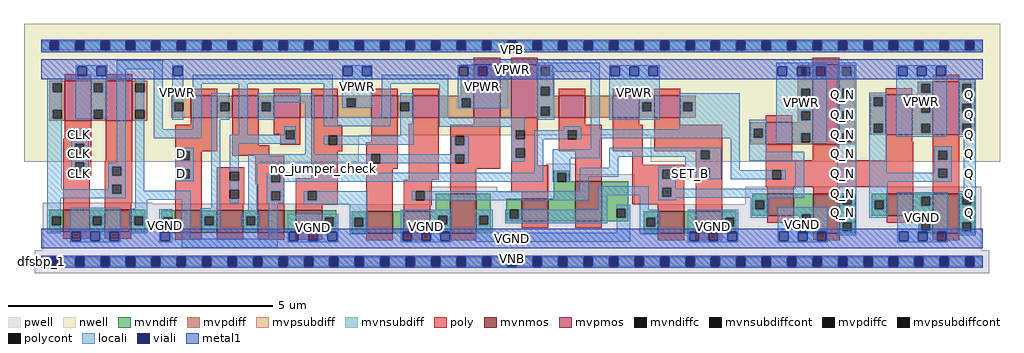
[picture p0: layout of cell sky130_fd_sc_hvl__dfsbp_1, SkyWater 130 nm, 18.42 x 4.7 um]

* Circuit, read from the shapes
.subckt sky130_fd_sc_hvl__dfsbp_1 CLK D SET_B VGND VNB VPB VPWR Q Q_N
XM1 VGND CLK n1 VNB sky130_fd_pr__nfet_g5v0d10v5 w=0.42 l=0.5
XM2 n2 n1 VGND VNB sky130_fd_pr__nfet_g5v0d10v5 w=0.42 l=0.5
XM3 n3 D VGND VNB sky130_fd_pr__nfet_g5v0d10v5 w=0.42 l=0.5
XM4 n4 n1 n3 VNB sky130_fd_pr__nfet_g5v0d10v5 w=0.42 l=0.5
XM5 n5 n2 n4 VNB sky130_fd_pr__nfet_g5v0d10v5 w=0.42 l=0.5
XM6 VGND n6 n5 VNB sky130_fd_pr__nfet_g5v0d10v5 w=0.42 l=0.5
XM7 n7 n4 n6 VNB sky130_fd_pr__nfet_g5v0d10v5 w=0.42 l=0.5
XM8 VGND SET_B n7 VNB sky130_fd_pr__nfet_g5v0d10v5 w=0.42 l=0.5
XM9 n8 n4 VGND VNB sky130_fd_pr__nfet_g5v0d10v5 w=0.75 l=0.5
XM10 n9 n1 n10 VNB sky130_fd_pr__nfet_g5v0d10v5 w=0.42 l=0.5
XM11 n8 n2 n9 VNB sky130_fd_pr__nfet_g5v0d10v5 w=0.75 l=0.5
XM12 n11 n12 n10 VNB sky130_fd_pr__nfet_g5v0d10v5 w=0.42 l=0.5
XM13 VGND SET_B n11 VNB sky130_fd_pr__nfet_g5v0d10v5 w=0.42 l=0.5
XM14 VGND n9 n12 VNB sky130_fd_pr__nfet_g5v0d10v5 w=0.42 l=0.5
XM15 Q_N n9 VGND VNB sky130_fd_pr__nfet_g5v0d10v5 w=0.75 l=0.5
XM16 VGND n9 n13 VNB sky130_fd_pr__nfet_g5v0d10v5 w=0.42 l=0.5
XM17 Q n13 VGND VNB sky130_fd_pr__nfet_g5v0d10v5 w=0.75 l=0.5
XM18 VPWR CLK n1 VPB sky130_fd_pr__pfet_g5v0d10v5 w=0.75 l=0.5
XM19 n2 n1 VPWR VPB sky130_fd_pr__pfet_g5v0d10v5 w=0.75 l=0.5
XM20 n3 D VPWR VPB sky130_fd_pr__pfet_g5v0d10v5 w=0.42 l=0.5
XM21 n4 n2 n3 VPB sky130_fd_pr__pfet_g5v0d10v5 w=0.42 l=0.5
XM22 n14 n1 n4 VPB sky130_fd_pr__pfet_g5v0d10v5 w=0.42 l=0.5
XM23 VPWR n6 n14 VPB sky130_fd_pr__pfet_g5v0d10v5 w=0.42 l=0.5
XM24 n6 n4 VPWR VPB sky130_fd_pr__pfet_g5v0d10v5 w=0.42 l=0.5
XM25 VPWR SET_B n6 VPB sky130_fd_pr__pfet_g5v0d10v5 w=0.42 l=0.5
XM26 n15 n4 VPWR VPB sky130_fd_pr__pfet_g5v0d10v5 w=1 l=0.5
XM27 n9 n1 n15 VPB sky130_fd_pr__pfet_g5v0d10v5 w=1 l=0.5
XM28 n16 n2 n9 VPB sky130_fd_pr__pfet_g5v0d10v5 w=0.42 l=0.5
XM29 VPWR n12 n16 VPB sky130_fd_pr__pfet_g5v0d10v5 w=0.42 l=0.5
XM30 n9 SET_B VPWR VPB sky130_fd_pr__pfet_g5v0d10v5 w=0.42 l=0.5
XM31 VPWR n9 n12 VPB sky130_fd_pr__pfet_g5v0d10v5 w=0.42 l=0.5
XM32 Q_N n9 VPWR VPB sky130_fd_pr__pfet_g5v0d10v5 w=1.5 l=0.5
XM33 VPWR n9 n13 VPB sky130_fd_pr__pfet_g5v0d10v5 w=0.75 l=0.5
XM34 Q n13 VPWR VPB sky130_fd_pr__pfet_g5v0d10v5 w=1 l=0.5
.ends

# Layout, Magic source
magic
tech sky130B
magscale 1 2
<< nwell >>
rect -66 477 3618 897
rect -66 377 1198 477
rect 2300 377 3618 477
<< pwell >>
rect 1908 329 2018 369
rect 1463 263 1721 283
rect 1908 263 2240 329
rect 4 219 418 222
rect 4 217 1138 219
rect 1463 217 2240 263
rect 2656 217 3548 283
rect 4 43 3548 217
rect -26 -43 3578 43
<< mvnmos >>
rect 83 112 183 196
rect 239 112 339 196
rect 505 109 605 193
rect 661 109 761 193
rect 817 109 917 193
rect 959 109 1059 193
rect 1225 107 1325 191
rect 1367 107 1467 191
rect 1542 107 1642 257
rect 1812 153 1912 237
rect 2014 153 2114 303
rect 2327 107 2427 191
rect 2469 107 2569 191
rect 2739 173 2839 257
rect 2914 107 3014 257
rect 3190 173 3290 257
rect 3365 107 3465 257
<< mvpmos >>
rect 87 532 187 682
rect 243 532 343 682
rect 564 543 664 627
rect 720 543 820 627
rect 876 543 976 627
rect 1018 543 1118 627
rect 1244 543 1344 627
rect 1400 543 1500 627
rect 1632 543 1732 743
rect 1774 543 1874 743
rect 1953 543 2053 627
rect 2156 543 2256 627
rect 2312 543 2412 627
rect 2733 443 2833 527
rect 2912 443 3012 743
rect 3186 479 3286 629
rect 3365 479 3465 679
<< mvndiff >>
rect 30 171 83 196
rect 30 137 38 171
rect 72 137 83 171
rect 30 112 83 137
rect 183 171 239 196
rect 183 137 194 171
rect 228 137 239 171
rect 183 112 239 137
rect 339 171 392 196
rect 339 137 350 171
rect 384 137 392 171
rect 339 112 392 137
rect 452 168 505 193
rect 452 134 460 168
rect 494 134 505 168
rect 452 109 505 134
rect 605 171 661 193
rect 605 137 616 171
rect 650 137 661 171
rect 605 109 661 137
rect 761 171 817 193
rect 761 137 772 171
rect 806 137 817 171
rect 761 109 817 137
rect 917 109 959 193
rect 1059 168 1112 193
rect 1489 191 1542 257
rect 1059 134 1070 168
rect 1104 134 1112 168
rect 1059 109 1112 134
rect 1172 166 1225 191
rect 1172 132 1180 166
rect 1214 132 1225 166
rect 1172 107 1225 132
rect 1325 107 1367 191
rect 1467 174 1542 191
rect 1467 140 1497 174
rect 1531 140 1542 174
rect 1467 107 1542 140
rect 1642 174 1695 257
rect 1934 335 1992 343
rect 1934 301 1946 335
rect 1980 303 1992 335
rect 1980 301 2014 303
rect 1934 237 2014 301
rect 1642 140 1653 174
rect 1687 140 1695 174
rect 1755 195 1812 237
rect 1755 161 1767 195
rect 1801 161 1812 195
rect 1755 153 1812 161
rect 1912 153 2014 237
rect 2114 199 2214 303
rect 2114 165 2172 199
rect 2206 165 2214 199
rect 2682 232 2739 257
rect 2682 198 2694 232
rect 2728 198 2739 232
rect 2114 153 2214 165
rect 2274 166 2327 191
rect 1642 107 1695 140
rect 2274 132 2282 166
rect 2316 132 2327 166
rect 2274 107 2327 132
rect 2427 107 2469 191
rect 2569 166 2622 191
rect 2682 173 2739 198
rect 2839 179 2914 257
rect 2839 173 2869 179
rect 2569 132 2580 166
rect 2614 132 2622 166
rect 2569 107 2622 132
rect 2861 145 2869 173
rect 2903 145 2914 179
rect 2861 107 2914 145
rect 3014 249 3071 257
rect 3014 215 3025 249
rect 3059 215 3071 249
rect 3014 149 3071 215
rect 3133 232 3190 257
rect 3133 198 3145 232
rect 3179 198 3190 232
rect 3133 173 3190 198
rect 3290 245 3365 257
rect 3290 211 3320 245
rect 3354 211 3365 245
rect 3290 173 3365 211
rect 3014 115 3025 149
rect 3059 115 3071 149
rect 3312 153 3365 173
rect 3014 107 3071 115
rect 3312 119 3320 153
rect 3354 119 3365 153
rect 3312 107 3365 119
rect 3465 249 3522 257
rect 3465 215 3476 249
rect 3510 215 3522 249
rect 3465 149 3522 215
rect 3465 115 3476 149
rect 3510 115 3522 149
rect 3465 107 3522 115
<< mvpdiff >>
rect 30 674 87 682
rect 30 640 42 674
rect 76 640 87 674
rect 30 574 87 640
rect 30 540 42 574
rect 76 540 87 574
rect 30 532 87 540
rect 187 674 243 682
rect 187 640 198 674
rect 232 640 243 674
rect 187 574 243 640
rect 187 540 198 574
rect 232 540 243 574
rect 187 532 243 540
rect 343 674 400 682
rect 343 640 354 674
rect 388 640 400 674
rect 343 574 400 640
rect 1582 627 1632 743
rect 343 540 354 574
rect 388 540 400 574
rect 489 602 564 627
rect 489 568 501 602
rect 535 568 564 602
rect 489 543 564 568
rect 664 602 720 627
rect 664 568 675 602
rect 709 568 720 602
rect 664 543 720 568
rect 820 602 876 627
rect 820 568 831 602
rect 865 568 876 602
rect 820 543 876 568
rect 976 543 1018 627
rect 1118 617 1244 627
rect 1118 583 1152 617
rect 1186 583 1244 617
rect 1118 543 1244 583
rect 1344 602 1400 627
rect 1344 568 1355 602
rect 1389 568 1400 602
rect 1344 543 1400 568
rect 1500 616 1632 627
rect 1500 582 1587 616
rect 1621 582 1632 616
rect 1500 543 1632 582
rect 1732 543 1774 743
rect 1874 735 1931 743
rect 1874 701 1885 735
rect 1919 701 1931 735
rect 1874 660 1931 701
rect 1874 626 1885 660
rect 1919 627 1931 660
rect 2855 735 2912 743
rect 2855 701 2867 735
rect 2901 701 2912 735
rect 2855 652 2912 701
rect 1919 626 1953 627
rect 1874 585 1953 626
rect 1874 551 1885 585
rect 1919 551 1953 585
rect 1874 543 1953 551
rect 2053 543 2156 627
rect 2256 602 2312 627
rect 2256 568 2267 602
rect 2301 568 2312 602
rect 2256 543 2312 568
rect 2412 602 2469 627
rect 2412 568 2423 602
rect 2457 568 2469 602
rect 2412 543 2469 568
rect 2855 618 2867 652
rect 2901 618 2912 652
rect 2855 568 2912 618
rect 343 532 400 540
rect 2855 534 2867 568
rect 2901 534 2912 568
rect 2855 527 2912 534
rect 2676 502 2733 527
rect 2676 468 2688 502
rect 2722 468 2733 502
rect 2676 443 2733 468
rect 2833 485 2912 527
rect 2833 451 2867 485
rect 2901 451 2912 485
rect 2833 443 2912 451
rect 3012 735 3069 743
rect 3012 701 3023 735
rect 3057 701 3069 735
rect 3012 652 3069 701
rect 3308 671 3365 679
rect 3012 618 3023 652
rect 3057 618 3069 652
rect 3308 637 3320 671
rect 3354 637 3365 671
rect 3308 629 3365 637
rect 3012 568 3069 618
rect 3012 534 3023 568
rect 3057 534 3069 568
rect 3012 485 3069 534
rect 3012 451 3023 485
rect 3057 451 3069 485
rect 3129 621 3186 629
rect 3129 587 3141 621
rect 3175 587 3186 621
rect 3129 521 3186 587
rect 3129 487 3141 521
rect 3175 487 3186 521
rect 3129 479 3186 487
rect 3286 596 3365 629
rect 3286 562 3320 596
rect 3354 562 3365 596
rect 3286 521 3365 562
rect 3286 487 3320 521
rect 3354 487 3365 521
rect 3286 479 3365 487
rect 3465 671 3522 679
rect 3465 637 3476 671
rect 3510 637 3522 671
rect 3465 596 3522 637
rect 3465 562 3476 596
rect 3510 562 3522 596
rect 3465 521 3522 562
rect 3465 487 3476 521
rect 3510 487 3522 521
rect 3465 479 3522 487
rect 3012 443 3069 451
<< mvndiffc >>
rect 38 137 72 171
rect 194 137 228 171
rect 350 137 384 171
rect 460 134 494 168
rect 616 137 650 171
rect 772 137 806 171
rect 1070 134 1104 168
rect 1180 132 1214 166
rect 1497 140 1531 174
rect 1946 301 1980 335
rect 1653 140 1687 174
rect 1767 161 1801 195
rect 2172 165 2206 199
rect 2694 198 2728 232
rect 2282 132 2316 166
rect 2580 132 2614 166
rect 2869 145 2903 179
rect 3025 215 3059 249
rect 3145 198 3179 232
rect 3320 211 3354 245
rect 3025 115 3059 149
rect 3320 119 3354 153
rect 3476 215 3510 249
rect 3476 115 3510 149
<< mvpdiffc >>
rect 42 640 76 674
rect 42 540 76 574
rect 198 640 232 674
rect 198 540 232 574
rect 354 640 388 674
rect 354 540 388 574
rect 501 568 535 602
rect 675 568 709 602
rect 831 568 865 602
rect 1152 583 1186 617
rect 1355 568 1389 602
rect 1587 582 1621 616
rect 1885 701 1919 735
rect 1885 626 1919 660
rect 2867 701 2901 735
rect 1885 551 1919 585
rect 2267 568 2301 602
rect 2423 568 2457 602
rect 2867 618 2901 652
rect 2867 534 2901 568
rect 2688 468 2722 502
rect 2867 451 2901 485
rect 3023 701 3057 735
rect 3023 618 3057 652
rect 3320 637 3354 671
rect 3023 534 3057 568
rect 3023 451 3057 485
rect 3141 587 3175 621
rect 3141 487 3175 521
rect 3320 562 3354 596
rect 3320 487 3354 521
rect 3476 637 3510 671
rect 3476 562 3510 596
rect 3476 487 3510 521
<< mvpsubdiff >>
rect 0 -17 31 17
rect 65 -17 127 17
rect 161 -17 223 17
rect 257 -17 319 17
rect 353 -17 415 17
rect 449 -17 511 17
rect 545 -17 607 17
rect 641 -17 703 17
rect 737 -17 799 17
rect 833 -17 895 17
rect 929 -17 991 17
rect 1025 -17 1087 17
rect 1121 -17 1183 17
rect 1217 -17 1279 17
rect 1313 -17 1375 17
rect 1409 -17 1471 17
rect 1505 -17 1567 17
rect 1601 -17 1663 17
rect 1697 -17 1759 17
rect 1793 -17 1855 17
rect 1889 -17 1951 17
rect 1985 -17 2047 17
rect 2081 -17 2143 17
rect 2177 -17 2239 17
rect 2273 -17 2335 17
rect 2369 -17 2431 17
rect 2465 -17 2527 17
rect 2561 -17 2623 17
rect 2657 -17 2719 17
rect 2753 -17 2815 17
rect 2849 -17 2911 17
rect 2945 -17 3007 17
rect 3041 -17 3103 17
rect 3137 -17 3199 17
rect 3233 -17 3295 17
rect 3329 -17 3391 17
rect 3425 -17 3487 17
rect 3521 -17 3552 17
<< mvnsubdiff >>
rect 0 797 31 831
rect 65 797 127 831
rect 161 797 223 831
rect 257 797 319 831
rect 353 797 415 831
rect 449 797 511 831
rect 545 797 607 831
rect 641 797 703 831
rect 737 797 799 831
rect 833 797 895 831
rect 929 797 991 831
rect 1025 797 1087 831
rect 1121 797 1183 831
rect 1217 797 1279 831
rect 1313 797 1375 831
rect 1409 797 1471 831
rect 1505 797 1567 831
rect 1601 797 1663 831
rect 1697 797 1759 831
rect 1793 797 1855 831
rect 1889 797 1951 831
rect 1985 797 2047 831
rect 2081 797 2143 831
rect 2177 797 2239 831
rect 2273 797 2335 831
rect 2369 797 2431 831
rect 2465 797 2527 831
rect 2561 797 2623 831
rect 2657 797 2719 831
rect 2753 797 2815 831
rect 2849 797 2911 831
rect 2945 797 3007 831
rect 3041 797 3103 831
rect 3137 797 3199 831
rect 3233 797 3295 831
rect 3329 797 3391 831
rect 3425 797 3487 831
rect 3521 797 3552 831
<< mvpsubdiffcont >>
rect 31 -17 65 17
rect 127 -17 161 17
rect 223 -17 257 17
rect 319 -17 353 17
rect 415 -17 449 17
rect 511 -17 545 17
rect 607 -17 641 17
rect 703 -17 737 17
rect 799 -17 833 17
rect 895 -17 929 17
rect 991 -17 1025 17
rect 1087 -17 1121 17
rect 1183 -17 1217 17
rect 1279 -17 1313 17
rect 1375 -17 1409 17
rect 1471 -17 1505 17
rect 1567 -17 1601 17
rect 1663 -17 1697 17
rect 1759 -17 1793 17
rect 1855 -17 1889 17
rect 1951 -17 1985 17
rect 2047 -17 2081 17
rect 2143 -17 2177 17
rect 2239 -17 2273 17
rect 2335 -17 2369 17
rect 2431 -17 2465 17
rect 2527 -17 2561 17
rect 2623 -17 2657 17
rect 2719 -17 2753 17
rect 2815 -17 2849 17
rect 2911 -17 2945 17
rect 3007 -17 3041 17
rect 3103 -17 3137 17
rect 3199 -17 3233 17
rect 3295 -17 3329 17
rect 3391 -17 3425 17
rect 3487 -17 3521 17
<< mvnsubdiffcont >>
rect 31 797 65 831
rect 127 797 161 831
rect 223 797 257 831
rect 319 797 353 831
rect 415 797 449 831
rect 511 797 545 831
rect 607 797 641 831
rect 703 797 737 831
rect 799 797 833 831
rect 895 797 929 831
rect 991 797 1025 831
rect 1087 797 1121 831
rect 1183 797 1217 831
rect 1279 797 1313 831
rect 1375 797 1409 831
rect 1471 797 1505 831
rect 1567 797 1601 831
rect 1663 797 1697 831
rect 1759 797 1793 831
rect 1855 797 1889 831
rect 1951 797 1985 831
rect 2047 797 2081 831
rect 2143 797 2177 831
rect 2239 797 2273 831
rect 2335 797 2369 831
rect 2431 797 2465 831
rect 2527 797 2561 831
rect 2623 797 2657 831
rect 2719 797 2753 831
rect 2815 797 2849 831
rect 2911 797 2945 831
rect 3007 797 3041 831
rect 3103 797 3137 831
rect 3199 797 3233 831
rect 3295 797 3329 831
rect 3391 797 3425 831
rect 3487 797 3521 831
<< poly >>
rect 1632 743 1732 769
rect 1774 743 1874 769
rect 2912 743 3012 769
rect 87 682 187 708
rect 243 682 343 708
rect 564 627 664 653
rect 720 627 820 653
rect 876 627 976 653
rect 1018 627 1118 653
rect 1244 627 1344 653
rect 1400 627 1500 653
rect 1953 627 2053 653
rect 2156 627 2256 653
rect 2312 627 2412 653
rect 87 464 187 532
rect 83 444 187 464
rect 83 410 128 444
rect 162 410 187 444
rect 83 376 187 410
rect 243 378 343 532
rect 564 517 664 543
rect 83 342 128 376
rect 162 342 187 376
rect 83 322 187 342
rect 239 358 343 378
rect 239 324 268 358
rect 302 324 343 358
rect 83 196 183 322
rect 239 290 343 324
rect 239 256 268 290
rect 302 256 343 290
rect 239 222 343 256
rect 505 417 664 517
rect 720 439 820 543
rect 876 495 976 543
rect 876 481 922 495
rect 902 461 922 481
rect 956 461 976 495
rect 902 441 976 461
rect 1018 517 1118 543
rect 1018 475 1136 517
rect 1018 441 1082 475
rect 1116 441 1136 475
rect 1244 451 1344 543
rect 1400 521 1500 543
rect 505 383 525 417
rect 559 383 605 417
rect 720 399 860 439
rect 1018 417 1136 441
rect 505 349 605 383
rect 505 315 525 349
rect 559 315 605 349
rect 239 196 339 222
rect 505 193 605 315
rect 661 339 765 357
rect 661 305 711 339
rect 745 305 765 339
rect 661 271 765 305
rect 807 333 917 399
rect 807 299 867 333
rect 901 299 917 333
rect 1018 315 1118 417
rect 807 293 917 299
rect 661 237 711 271
rect 745 237 765 271
rect 661 217 765 237
rect 817 265 917 293
rect 817 231 867 265
rect 901 231 917 265
rect 661 193 761 217
rect 817 193 917 231
rect 959 265 1118 315
rect 959 231 1005 265
rect 1039 231 1118 265
rect 959 215 1118 231
rect 1225 405 1344 451
rect 1225 371 1245 405
rect 1279 371 1344 405
rect 1225 351 1344 371
rect 959 193 1059 215
rect 83 86 183 112
rect 239 86 339 112
rect 1225 191 1325 351
rect 1386 309 1500 521
rect 1632 517 1732 543
rect 1542 473 1732 517
rect 1542 439 1562 473
rect 1596 439 1732 473
rect 1542 405 1732 439
rect 1542 371 1562 405
rect 1596 371 1732 405
rect 1542 351 1732 371
rect 1774 495 1874 543
rect 1774 461 1790 495
rect 1824 461 1874 495
rect 1774 427 1874 461
rect 1774 393 1790 427
rect 1824 393 1874 427
rect 1953 517 2053 543
rect 2156 517 2256 543
rect 2312 517 2412 543
rect 2733 527 2833 553
rect 1953 495 2114 517
rect 1953 461 1987 495
rect 2021 461 2114 495
rect 1953 417 2114 461
rect 2156 417 2270 517
rect 2312 421 2569 517
rect 3365 679 3465 705
rect 3186 629 3286 655
rect 3186 453 3286 479
rect 2312 417 2489 421
rect 1774 363 1874 393
rect 1367 265 1474 309
rect 1367 231 1413 265
rect 1447 231 1474 265
rect 1542 257 1642 351
rect 1774 263 1912 363
rect 1367 213 1474 231
rect 1367 191 1467 213
rect 505 83 605 109
rect 661 83 761 109
rect 817 83 917 109
rect 959 83 1059 109
rect 1812 237 1912 263
rect 2014 303 2114 417
rect 2229 366 2270 417
rect 2469 387 2489 417
rect 2523 387 2569 421
rect 2229 346 2427 366
rect 2229 312 2344 346
rect 2378 312 2427 346
rect 2229 278 2427 312
rect 2229 244 2344 278
rect 2378 244 2427 278
rect 2229 217 2427 244
rect 2327 191 2427 217
rect 2469 353 2569 387
rect 2469 319 2489 353
rect 2523 319 2569 353
rect 2469 191 2569 319
rect 2733 383 2833 443
rect 2912 383 3012 443
rect 3186 383 3290 453
rect 2733 345 3290 383
rect 2733 311 2759 345
rect 2793 311 3290 345
rect 2733 283 3290 311
rect 2739 257 2839 283
rect 2914 257 3014 283
rect 3190 257 3290 283
rect 3365 419 3465 479
rect 3365 385 3385 419
rect 3419 385 3465 419
rect 3365 351 3465 385
rect 3365 317 3385 351
rect 3419 317 3465 351
rect 3365 257 3465 317
rect 1812 127 1912 153
rect 2014 127 2114 153
rect 2739 147 2839 173
rect 3190 147 3290 173
rect 1225 81 1325 107
rect 1367 81 1467 107
rect 1542 81 1642 107
rect 2327 81 2427 107
rect 2469 81 2569 107
rect 2914 81 3014 107
rect 3365 81 3465 107
<< polycont >>
rect 128 410 162 444
rect 128 342 162 376
rect 268 324 302 358
rect 268 256 302 290
rect 922 461 956 495
rect 1082 441 1116 475
rect 525 383 559 417
rect 525 315 559 349
rect 711 305 745 339
rect 867 299 901 333
rect 711 237 745 271
rect 867 231 901 265
rect 1005 231 1039 265
rect 1245 371 1279 405
rect 1562 439 1596 473
rect 1562 371 1596 405
rect 1790 461 1824 495
rect 1790 393 1824 427
rect 1987 461 2021 495
rect 1413 231 1447 265
rect 2489 387 2523 421
rect 2344 312 2378 346
rect 2344 244 2378 278
rect 2489 319 2523 353
rect 2759 311 2793 345
rect 3385 385 3419 419
rect 3385 317 3419 351
<< locali >>
rect 0 797 31 831
rect 65 797 127 831
rect 161 797 223 831
rect 257 797 319 831
rect 353 797 415 831
rect 449 797 511 831
rect 545 797 607 831
rect 641 797 703 831
rect 737 797 799 831
rect 833 797 895 831
rect 929 797 991 831
rect 1025 797 1087 831
rect 1121 797 1183 831
rect 1217 797 1279 831
rect 1313 797 1375 831
rect 1409 797 1471 831
rect 1505 797 1567 831
rect 1601 797 1663 831
rect 1697 797 1759 831
rect 1793 797 1855 831
rect 1889 797 1951 831
rect 1985 797 2047 831
rect 2081 797 2143 831
rect 2177 797 2239 831
rect 2273 797 2335 831
rect 2369 797 2431 831
rect 2465 797 2527 831
rect 2561 797 2623 831
rect 2657 797 2719 831
rect 2753 797 2815 831
rect 2849 797 2911 831
rect 2945 797 3007 831
rect 3041 797 3103 831
rect 3137 797 3199 831
rect 3233 797 3295 831
rect 3329 797 3391 831
rect 3425 797 3487 831
rect 3521 797 3552 831
rect 130 735 248 741
rect 130 701 136 735
rect 170 701 208 735
rect 242 701 248 735
rect 22 674 76 690
rect 22 640 42 674
rect 22 574 76 640
rect 22 540 42 574
rect 130 674 248 701
rect 130 640 198 674
rect 232 640 248 674
rect 130 574 248 640
rect 130 540 198 574
rect 232 540 248 574
rect 284 726 458 760
rect 22 274 76 540
rect 112 444 178 504
rect 112 410 128 444
rect 162 410 178 444
rect 112 376 178 410
rect 112 342 128 376
rect 162 342 178 376
rect 284 374 318 726
rect 112 310 178 342
rect 252 358 318 374
rect 252 324 268 358
rect 302 324 318 358
rect 252 290 318 324
rect 252 274 268 290
rect 22 256 268 274
rect 302 256 318 290
rect 22 240 318 256
rect 354 674 388 690
rect 354 574 388 640
rect 354 267 388 540
rect 424 499 458 726
rect 494 735 535 741
rect 494 701 498 735
rect 532 701 535 735
rect 1136 735 1249 741
rect 494 602 535 701
rect 494 568 501 602
rect 494 535 535 568
rect 571 671 1100 705
rect 571 499 605 671
rect 424 465 605 499
rect 641 602 709 635
rect 641 568 675 602
rect 641 535 709 568
rect 505 417 575 429
rect 505 383 525 417
rect 559 383 575 417
rect 505 349 575 383
rect 505 315 525 349
rect 559 315 575 349
rect 505 303 575 315
rect 22 171 72 240
rect 354 233 564 267
rect 22 137 38 171
rect 22 108 72 137
rect 108 171 298 204
rect 354 200 400 233
rect 108 137 194 171
rect 228 137 298 171
rect 108 113 298 137
rect 108 79 114 113
rect 148 79 186 113
rect 220 79 258 113
rect 292 79 298 113
rect 334 171 400 200
rect 334 137 350 171
rect 384 137 400 171
rect 334 108 400 137
rect 444 168 494 197
rect 444 134 460 168
rect 444 113 494 134
rect 108 73 298 79
rect 444 79 450 113
rect 484 79 494 113
rect 444 73 494 79
rect 530 87 564 233
rect 641 201 675 535
rect 745 479 779 671
rect 815 602 1030 635
rect 815 568 831 602
rect 865 601 1030 602
rect 865 568 881 601
rect 815 535 881 568
rect 917 495 960 511
rect 917 479 922 495
rect 711 461 922 479
rect 956 461 960 495
rect 711 445 960 461
rect 711 339 745 445
rect 996 405 1030 601
rect 1066 545 1100 671
rect 1136 701 1139 735
rect 1173 701 1211 735
rect 1245 701 1249 735
rect 1571 735 1761 741
rect 1136 617 1249 701
rect 1136 583 1152 617
rect 1186 583 1249 617
rect 1136 581 1249 583
rect 1285 671 1535 705
rect 1285 545 1319 671
rect 1066 511 1319 545
rect 1355 602 1405 635
rect 1389 568 1405 602
rect 1355 475 1405 568
rect 1501 543 1535 671
rect 1571 701 1577 735
rect 1611 701 1649 735
rect 1683 701 1721 735
rect 1755 701 1761 735
rect 1571 616 1761 701
rect 1571 582 1587 616
rect 1621 582 1761 616
rect 1571 579 1761 582
rect 1869 735 2107 751
rect 1869 701 1885 735
rect 1919 717 2107 735
rect 1919 701 1935 717
rect 1869 660 1935 701
rect 1869 626 1885 660
rect 1919 626 1935 660
rect 1869 585 1935 626
rect 1869 551 1885 585
rect 1919 551 1935 585
rect 1501 509 1824 543
rect 1869 535 1935 551
rect 1066 441 1082 475
rect 1116 441 1405 475
rect 1774 495 1824 509
rect 1971 495 2037 511
rect 1546 439 1562 473
rect 1596 439 1612 473
rect 1546 405 1612 439
rect 711 271 745 305
rect 711 221 745 237
rect 781 371 1245 405
rect 1279 371 1562 405
rect 1596 371 1612 405
rect 1774 461 1790 495
rect 1774 427 1824 461
rect 1774 393 1790 427
rect 1774 377 1824 393
rect 1860 461 1987 495
rect 2021 461 2037 495
rect 2073 499 2107 717
rect 2143 735 2333 741
rect 2143 701 2149 735
rect 2183 701 2221 735
rect 2255 701 2293 735
rect 2327 701 2333 735
rect 2143 602 2333 701
rect 2774 735 2964 751
rect 2774 701 2780 735
rect 2814 701 2852 735
rect 2901 701 2924 735
rect 2958 701 2964 735
rect 2774 652 2964 701
rect 2143 568 2267 602
rect 2301 568 2333 602
rect 2143 535 2333 568
rect 2407 602 2636 635
rect 2407 568 2423 602
rect 2457 568 2636 602
rect 2407 499 2636 568
rect 2774 618 2867 652
rect 2901 618 2964 652
rect 2774 568 2964 618
rect 2073 465 2636 499
rect 600 171 675 201
rect 781 185 815 371
rect 1860 335 1894 461
rect 2073 425 2107 465
rect 851 333 1894 335
rect 851 299 867 333
rect 901 301 1894 333
rect 1930 391 2107 425
rect 2143 421 2566 429
rect 2143 395 2489 421
rect 1930 335 1996 391
rect 2143 355 2177 395
rect 2430 387 2489 395
rect 2523 387 2566 421
rect 1930 301 1946 335
rect 1980 301 1996 335
rect 2032 321 2177 355
rect 2328 346 2394 359
rect 901 299 917 301
rect 851 265 917 299
rect 2032 265 2066 321
rect 2328 312 2344 346
rect 2378 312 2394 346
rect 851 231 867 265
rect 901 231 917 265
rect 851 221 917 231
rect 989 231 1005 265
rect 1039 231 1230 265
rect 1397 231 1413 265
rect 1447 231 2066 265
rect 2102 251 2292 285
rect 600 137 616 171
rect 650 137 675 171
rect 600 123 675 137
rect 756 171 822 185
rect 756 137 772 171
rect 806 137 822 171
rect 756 123 822 137
rect 858 87 892 221
rect 989 217 1230 231
rect 530 53 892 87
rect 930 168 1120 181
rect 930 134 1070 168
rect 1104 134 1120 168
rect 930 113 1120 134
rect 930 79 936 113
rect 970 79 1008 113
rect 1042 79 1080 113
rect 1114 79 1120 113
rect 1164 166 1230 217
rect 2102 195 2136 251
rect 1164 132 1180 166
rect 1214 132 1230 166
rect 1164 103 1230 132
rect 1357 174 1547 195
rect 1357 140 1497 174
rect 1531 140 1547 174
rect 1357 113 1547 140
rect 930 73 1120 79
rect 1357 79 1363 113
rect 1397 79 1435 113
rect 1469 79 1507 113
rect 1541 79 1547 113
rect 1357 73 1547 79
rect 1637 174 1703 195
rect 1637 140 1653 174
rect 1687 140 1703 174
rect 1751 161 1767 195
rect 1801 161 2136 195
rect 1751 145 2136 161
rect 2172 199 2222 215
rect 2206 165 2222 199
rect 1637 109 1703 140
rect 2172 109 2222 165
rect 1637 75 2222 109
rect 2258 195 2292 251
rect 2328 278 2394 312
rect 2430 353 2566 387
rect 2430 319 2489 353
rect 2523 319 2566 353
rect 2430 311 2566 319
rect 2602 345 2636 465
rect 2672 502 2738 535
rect 2672 468 2688 502
rect 2722 468 2738 502
rect 2672 415 2738 468
rect 2774 534 2867 568
rect 2901 534 2964 568
rect 2774 485 2964 534
rect 2774 451 2867 485
rect 2901 451 2964 485
rect 3003 735 3075 751
rect 3003 701 3023 735
rect 3057 701 3075 735
rect 3003 652 3075 701
rect 3003 618 3023 652
rect 3057 618 3075 652
rect 3227 735 3417 741
rect 3227 701 3233 735
rect 3267 701 3305 735
rect 3339 701 3377 735
rect 3411 701 3417 735
rect 3227 671 3417 701
rect 3227 637 3320 671
rect 3354 637 3417 671
rect 3003 568 3075 618
rect 3003 534 3023 568
rect 3057 534 3075 568
rect 3003 485 3075 534
rect 3003 451 3023 485
rect 3057 451 3075 485
rect 2672 381 2879 415
rect 2602 311 2759 345
rect 2793 311 2809 345
rect 2328 244 2344 278
rect 2378 275 2394 278
rect 2845 275 2879 381
rect 2378 244 2879 275
rect 2328 241 2879 244
rect 3003 249 3075 451
rect 2328 231 2394 241
rect 2678 232 2744 241
rect 2678 198 2694 232
rect 2728 198 2744 232
rect 3003 215 3025 249
rect 3059 215 3075 249
rect 2258 166 2332 195
rect 2258 132 2282 166
rect 2316 132 2332 166
rect 2258 103 2332 132
rect 2440 166 2630 195
rect 2440 132 2580 166
rect 2614 132 2630 166
rect 2678 165 2744 198
rect 2780 179 2967 205
rect 2440 113 2630 132
rect 2440 79 2446 113
rect 2480 79 2518 113
rect 2552 79 2590 113
rect 2624 79 2630 113
rect 2440 73 2630 79
rect 2780 145 2869 179
rect 2903 145 2967 179
rect 2780 113 2967 145
rect 2780 79 2784 113
rect 2818 79 2856 113
rect 2890 79 2928 113
rect 2962 79 2967 113
rect 3003 149 3075 215
rect 3125 621 3191 637
rect 3125 587 3141 621
rect 3175 587 3191 621
rect 3125 521 3191 587
rect 3125 487 3141 521
rect 3175 487 3191 521
rect 3125 335 3191 487
rect 3227 596 3417 637
rect 3227 562 3320 596
rect 3354 562 3417 596
rect 3227 521 3417 562
rect 3227 487 3320 521
rect 3354 487 3417 521
rect 3227 471 3417 487
rect 3460 671 3527 687
rect 3460 637 3476 671
rect 3510 637 3527 671
rect 3460 596 3527 637
rect 3460 562 3476 596
rect 3510 562 3527 596
rect 3460 521 3527 562
rect 3460 487 3476 521
rect 3510 487 3527 521
rect 3460 471 3527 487
rect 3369 419 3435 435
rect 3369 385 3385 419
rect 3419 385 3435 419
rect 3369 351 3435 385
rect 3369 335 3385 351
rect 3125 317 3385 335
rect 3419 317 3435 351
rect 3125 301 3435 317
rect 3125 232 3195 301
rect 3481 265 3527 471
rect 3125 198 3145 232
rect 3179 198 3195 232
rect 3125 165 3195 198
rect 3231 245 3421 261
rect 3231 211 3320 245
rect 3354 211 3421 245
rect 3003 115 3025 149
rect 3059 115 3075 149
rect 3003 99 3075 115
rect 3231 153 3421 211
rect 3231 119 3320 153
rect 3354 119 3421 153
rect 3231 113 3421 119
rect 2780 73 2967 79
rect 3231 79 3237 113
rect 3271 79 3309 113
rect 3343 79 3381 113
rect 3415 79 3421 113
rect 3460 249 3527 265
rect 3460 215 3476 249
rect 3510 215 3527 249
rect 3460 149 3527 215
rect 3460 115 3476 149
rect 3510 115 3527 149
rect 3460 99 3527 115
rect 3231 73 3421 79
rect 0 -17 31 17
rect 65 -17 127 17
rect 161 -17 223 17
rect 257 -17 319 17
rect 353 -17 415 17
rect 449 -17 511 17
rect 545 -17 607 17
rect 641 -17 703 17
rect 737 -17 799 17
rect 833 -17 895 17
rect 929 -17 991 17
rect 1025 -17 1087 17
rect 1121 -17 1183 17
rect 1217 -17 1279 17
rect 1313 -17 1375 17
rect 1409 -17 1471 17
rect 1505 -17 1567 17
rect 1601 -17 1663 17
rect 1697 -17 1759 17
rect 1793 -17 1855 17
rect 1889 -17 1951 17
rect 1985 -17 2047 17
rect 2081 -17 2143 17
rect 2177 -17 2239 17
rect 2273 -17 2335 17
rect 2369 -17 2431 17
rect 2465 -17 2527 17
rect 2561 -17 2623 17
rect 2657 -17 2719 17
rect 2753 -17 2815 17
rect 2849 -17 2911 17
rect 2945 -17 3007 17
rect 3041 -17 3103 17
rect 3137 -17 3199 17
rect 3233 -17 3295 17
rect 3329 -17 3391 17
rect 3425 -17 3487 17
rect 3521 -17 3552 17
<< viali >>
rect 31 797 65 831
rect 127 797 161 831
rect 223 797 257 831
rect 319 797 353 831
rect 415 797 449 831
rect 511 797 545 831
rect 607 797 641 831
rect 703 797 737 831
rect 799 797 833 831
rect 895 797 929 831
rect 991 797 1025 831
rect 1087 797 1121 831
rect 1183 797 1217 831
rect 1279 797 1313 831
rect 1375 797 1409 831
rect 1471 797 1505 831
rect 1567 797 1601 831
rect 1663 797 1697 831
rect 1759 797 1793 831
rect 1855 797 1889 831
rect 1951 797 1985 831
rect 2047 797 2081 831
rect 2143 797 2177 831
rect 2239 797 2273 831
rect 2335 797 2369 831
rect 2431 797 2465 831
rect 2527 797 2561 831
rect 2623 797 2657 831
rect 2719 797 2753 831
rect 2815 797 2849 831
rect 2911 797 2945 831
rect 3007 797 3041 831
rect 3103 797 3137 831
rect 3199 797 3233 831
rect 3295 797 3329 831
rect 3391 797 3425 831
rect 3487 797 3521 831
rect 136 701 170 735
rect 208 701 242 735
rect 498 701 532 735
rect 114 79 148 113
rect 186 79 220 113
rect 258 79 292 113
rect 450 79 484 113
rect 1139 701 1173 735
rect 1211 701 1245 735
rect 1577 701 1611 735
rect 1649 701 1683 735
rect 1721 701 1755 735
rect 2149 701 2183 735
rect 2221 701 2255 735
rect 2293 701 2327 735
rect 2780 701 2814 735
rect 2852 701 2867 735
rect 2867 701 2886 735
rect 2924 701 2958 735
rect 936 79 970 113
rect 1008 79 1042 113
rect 1080 79 1114 113
rect 1363 79 1397 113
rect 1435 79 1469 113
rect 1507 79 1541 113
rect 3233 701 3267 735
rect 3305 701 3339 735
rect 3377 701 3411 735
rect 2446 79 2480 113
rect 2518 79 2552 113
rect 2590 79 2624 113
rect 2784 79 2818 113
rect 2856 79 2890 113
rect 2928 79 2962 113
rect 3237 79 3271 113
rect 3309 79 3343 113
rect 3381 79 3415 113
rect 31 -17 65 17
rect 127 -17 161 17
rect 223 -17 257 17
rect 319 -17 353 17
rect 415 -17 449 17
rect 511 -17 545 17
rect 607 -17 641 17
rect 703 -17 737 17
rect 799 -17 833 17
rect 895 -17 929 17
rect 991 -17 1025 17
rect 1087 -17 1121 17
rect 1183 -17 1217 17
rect 1279 -17 1313 17
rect 1375 -17 1409 17
rect 1471 -17 1505 17
rect 1567 -17 1601 17
rect 1663 -17 1697 17
rect 1759 -17 1793 17
rect 1855 -17 1889 17
rect 1951 -17 1985 17
rect 2047 -17 2081 17
rect 2143 -17 2177 17
rect 2239 -17 2273 17
rect 2335 -17 2369 17
rect 2431 -17 2465 17
rect 2527 -17 2561 17
rect 2623 -17 2657 17
rect 2719 -17 2753 17
rect 2815 -17 2849 17
rect 2911 -17 2945 17
rect 3007 -17 3041 17
rect 3103 -17 3137 17
rect 3199 -17 3233 17
rect 3295 -17 3329 17
rect 3391 -17 3425 17
rect 3487 -17 3521 17
<< metal1 >>
rect 0 831 3552 837
rect 0 797 31 831
rect 65 797 127 831
rect 161 797 223 831
rect 257 797 319 831
rect 353 797 415 831
rect 449 797 511 831
rect 545 797 607 831
rect 641 797 703 831
rect 737 797 799 831
rect 833 797 895 831
rect 929 797 991 831
rect 1025 797 1087 831
rect 1121 797 1183 831
rect 1217 797 1279 831
rect 1313 797 1375 831
rect 1409 797 1471 831
rect 1505 797 1567 831
rect 1601 797 1663 831
rect 1697 797 1759 831
rect 1793 797 1855 831
rect 1889 797 1951 831
rect 1985 797 2047 831
rect 2081 797 2143 831
rect 2177 797 2239 831
rect 2273 797 2335 831
rect 2369 797 2431 831
rect 2465 797 2527 831
rect 2561 797 2623 831
rect 2657 797 2719 831
rect 2753 797 2815 831
rect 2849 797 2911 831
rect 2945 797 3007 831
rect 3041 797 3103 831
rect 3137 797 3199 831
rect 3233 797 3295 831
rect 3329 797 3391 831
rect 3425 797 3487 831
rect 3521 797 3552 831
rect 0 791 3552 797
rect 0 735 3552 763
rect 0 701 136 735
rect 170 701 208 735
rect 242 701 498 735
rect 532 701 1139 735
rect 1173 701 1211 735
rect 1245 701 1577 735
rect 1611 701 1649 735
rect 1683 701 1721 735
rect 1755 701 2149 735
rect 2183 701 2221 735
rect 2255 701 2293 735
rect 2327 701 2780 735
rect 2814 701 2852 735
rect 2886 701 2924 735
rect 2958 701 3233 735
rect 3267 701 3305 735
rect 3339 701 3377 735
rect 3411 701 3552 735
rect 0 689 3552 701
rect 0 113 3552 125
rect 0 79 114 113
rect 148 79 186 113
rect 220 79 258 113
rect 292 79 450 113
rect 484 79 936 113
rect 970 79 1008 113
rect 1042 79 1080 113
rect 1114 79 1363 113
rect 1397 79 1435 113
rect 1469 79 1507 113
rect 1541 79 2446 113
rect 2480 79 2518 113
rect 2552 79 2590 113
rect 2624 79 2784 113
rect 2818 79 2856 113
rect 2890 79 2928 113
rect 2962 79 3237 113
rect 3271 79 3309 113
rect 3343 79 3381 113
rect 3415 79 3552 113
rect 0 51 3552 79
rect 0 17 3552 23
rect 0 -17 31 17
rect 65 -17 127 17
rect 161 -17 223 17
rect 257 -17 319 17
rect 353 -17 415 17
rect 449 -17 511 17
rect 545 -17 607 17
rect 641 -17 703 17
rect 737 -17 799 17
rect 833 -17 895 17
rect 929 -17 991 17
rect 1025 -17 1087 17
rect 1121 -17 1183 17
rect 1217 -17 1279 17
rect 1313 -17 1375 17
rect 1409 -17 1471 17
rect 1505 -17 1567 17
rect 1601 -17 1663 17
rect 1697 -17 1759 17
rect 1793 -17 1855 17
rect 1889 -17 1951 17
rect 1985 -17 2047 17
rect 2081 -17 2143 17
rect 2177 -17 2239 17
rect 2273 -17 2335 17
rect 2369 -17 2431 17
rect 2465 -17 2527 17
rect 2561 -17 2623 17
rect 2657 -17 2719 17
rect 2753 -17 2815 17
rect 2849 -17 2911 17
rect 2945 -17 3007 17
rect 3041 -17 3103 17
rect 3137 -17 3199 17
rect 3233 -17 3295 17
rect 3329 -17 3391 17
rect 3425 -17 3487 17
rect 3521 -17 3552 17
rect 0 -23 3552 -17
<< labels >>
flabel comment s 1065 353 1065 353 0 FreeSans 200 90 0 0 no_jumper_check
rlabel comment s 0 0 0 0 4 dfsbp_1
flabel metal1 s 0 51 3552 125 0 FreeSans 340 0 0 0 VGND
port 4 nsew ground bidirectional
flabel metal1 s 0 0 3552 23 0 FreeSans 340 0 0 0 VNB
port 5 nsew ground bidirectional
flabel metal1 s 0 689 3552 763 0 FreeSans 340 0 0 0 VPWR
port 7 nsew power bidirectional
flabel metal1 s 0 791 3552 814 0 FreeSans 340 0 0 0 VPB
port 6 nsew power bidirectional
flabel locali s 511 316 545 350 0 FreeSans 340 0 0 0 D
port 2 nsew signal input
flabel locali s 511 390 545 424 0 FreeSans 340 0 0 0 D
port 2 nsew signal input
flabel locali s 127 316 161 350 0 FreeSans 340 0 0 0 CLK
port 1 nsew clock input
flabel locali s 127 390 161 424 0 FreeSans 340 0 0 0 CLK
port 1 nsew clock input
flabel locali s 127 464 161 498 0 FreeSans 340 0 0 0 CLK
port 1 nsew clock input
flabel locali s 2431 316 2465 350 0 FreeSans 340 0 0 0 SET_B
port 3 nsew signal input
flabel locali s 2527 316 2561 350 0 FreeSans 340 0 0 0 SET_B
port 3 nsew signal input
flabel locali s 3487 168 3521 202 0 FreeSans 340 0 0 0 Q
port 8 nsew signal output
flabel locali s 3487 242 3521 276 0 FreeSans 340 0 0 0 Q
port 8 nsew signal output
flabel locali s 3487 316 3521 350 0 FreeSans 340 0 0 0 Q
port 8 nsew signal output
flabel locali s 3487 390 3521 424 0 FreeSans 340 0 0 0 Q
port 8 nsew signal output
flabel locali s 3487 464 3521 498 0 FreeSans 340 0 0 0 Q
port 8 nsew signal output
flabel locali s 3487 538 3521 572 0 FreeSans 340 0 0 0 Q
port 8 nsew signal output
flabel locali s 3487 612 3521 646 0 FreeSans 340 0 0 0 Q
port 8 nsew signal output
flabel locali s 3007 168 3041 202 0 FreeSans 340 0 0 0 Q_N
port 9 nsew signal output
flabel locali s 3007 242 3041 276 0 FreeSans 340 0 0 0 Q_N
port 9 nsew signal output
flabel locali s 3007 316 3041 350 0 FreeSans 340 0 0 0 Q_N
port 9 nsew signal output
flabel locali s 3007 390 3041 424 0 FreeSans 340 0 0 0 Q_N
port 9 nsew signal output
flabel locali s 3007 464 3041 498 0 FreeSans 340 0 0 0 Q_N
port 9 nsew signal output
flabel locali s 3007 538 3041 572 0 FreeSans 340 0 0 0 Q_N
port 9 nsew signal output
flabel locali s 3007 612 3041 646 0 FreeSans 340 0 0 0 Q_N
port 9 nsew signal output
rlabel locali s 2440 73 2630 195 1 VGND
port 4 nsew ground bidirectional
rlabel locali s 2780 73 2967 205 1 VGND
port 4 nsew ground bidirectional
rlabel locali s 3231 73 3421 261 1 VGND
port 4 nsew ground bidirectional
rlabel locali s 444 73 494 197 1 VGND
port 4 nsew ground bidirectional
rlabel locali s 930 73 1120 181 1 VGND
port 4 nsew ground bidirectional
rlabel locali s 1357 73 1547 195 1 VGND
port 4 nsew ground bidirectional
rlabel metal1 s 0 51 3552 125 1 VGND
port 4 nsew ground bidirectional
rlabel metal1 s 0 -23 3552 23 1 VNB
port 5 nsew ground bidirectional
rlabel metal1 s 0 791 3552 837 1 VPB
port 6 nsew power bidirectional
rlabel locali s 2143 535 2333 741 1 VPWR
port 7 nsew power bidirectional
rlabel locali s 2774 451 2964 751 1 VPWR
port 7 nsew power bidirectional
rlabel locali s 3227 471 3417 741 1 VPWR
port 7 nsew power bidirectional
rlabel locali s 494 535 535 741 1 VPWR
port 7 nsew power bidirectional
rlabel locali s 1136 581 1249 741 1 VPWR
port 7 nsew power bidirectional
rlabel locali s 1571 579 1761 741 1 VPWR
port 7 nsew power bidirectional
rlabel metal1 s 0 689 3552 763 1 VPWR
port 7 nsew power bidirectional
<< properties >>
string FIXED_BBOX 0 0 3552 814
string GDS_END 1000218
string GDS_FILE $PDKPATH/libs.ref/sky130_fd_sc_hvl/gds/sky130_fd_sc_hvl.gds
string GDS_START 966786
string LEFclass CORE
string LEFsite unithv
string LEFsymmetry X Y
<< end >>
